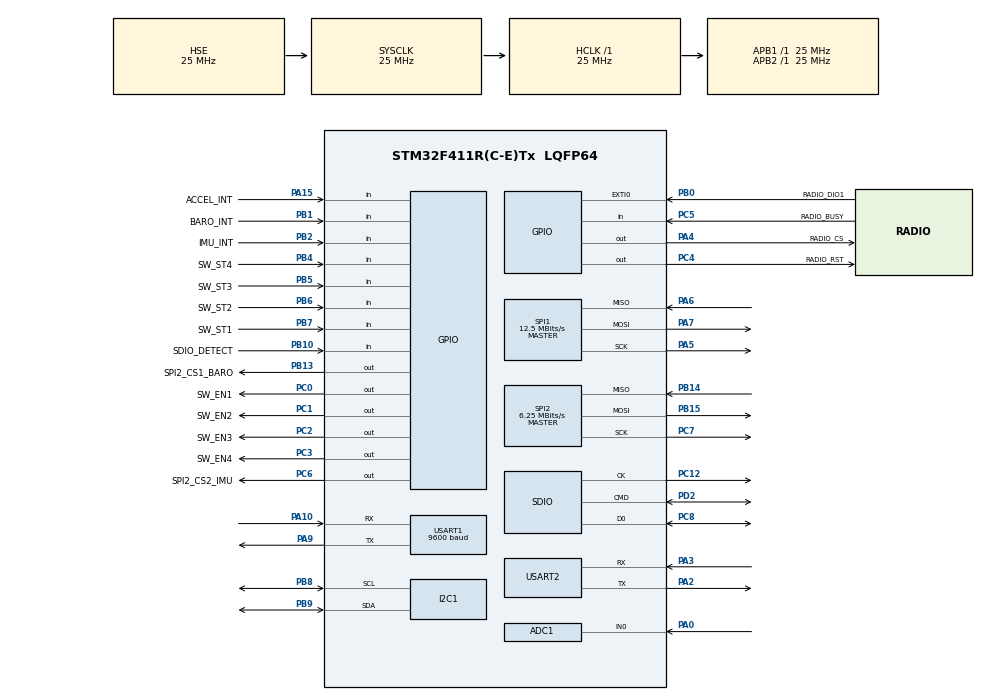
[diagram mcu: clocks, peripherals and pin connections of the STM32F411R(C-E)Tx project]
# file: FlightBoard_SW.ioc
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ADC1.Channel-17\#ChannelRegularConversion=ADC_CHANNEL_0
ADC1.ContinuousConvMode=ENABLE
ADC1.EOCSelection=ADC_EOC_SEQ_CONV
ADC1.NbrOfConversion=1
ADC1.NbrOfConversionFlag=1
ADC1.Rank-17\#ChannelRegularConversion=1
ADC1.Resolution=ADC_RESOLUTION_10B
ADC1.SamplingTime-17\#ChannelRegularConversion=ADC_SAMPLETIME_3CYCLES
ADC1.ScanConvMode=DISABLE
ADC1.master=1
Dma.Request0=SDIO_RX
Dma.Request1=SDIO_TX
Dma.Request2=USART1_RX
Dma.SDIO_RX.0.Direction=DMA_PERIPH_TO_MEMORY
Dma.SDIO_RX.0.FIFOMode=DMA_FIFOMODE_ENABLE
Dma.SDIO_RX.0.FIFOThreshold=DMA_FIFO_THRESHOLD_FULL
Dma.SDIO_RX.0.Instance=DMA2_Stream3
Dma.SDIO_RX.0.MemBurst=DMA_MBURST_INC4
Dma.SDIO_RX.0.MemDataAlignment=DMA_MDATAALIGN_WORD
Dma.SDIO_RX.0.MemInc=DMA_MINC_ENABLE
Dma.SDIO_RX.0.Mode=DMA_PFCTRL
Dma.SDIO_RX.0.PeriphBurst=DMA_PBURST_INC4
Dma.SDIO_RX.0.PeriphDataAlignment=DMA_PDATAALIGN_WORD
Dma.SDIO_RX.0.PeriphInc=DMA_PINC_DISABLE
Dma.SDIO_RX.0.Priority=DMA_PRIORITY_LOW
Dma.SDIO_TX.1.Direction=DMA_MEMORY_TO_PERIPH
Dma.SDIO_TX.1.FIFOMode=DMA_FIFOMODE_ENABLE
Dma.SDIO_TX.1.FIFOThreshold=DMA_FIFO_THRESHOLD_FULL
Dma.SDIO_TX.1.Instance=DMA2_Stream6
Dma.SDIO_TX.1.MemBurst=DMA_MBURST_INC4
Dma.SDIO_TX.1.MemDataAlignment=DMA_MDATAALIGN_WORD
Dma.SDIO_TX.1.MemInc=DMA_MINC_ENABLE
Dma.SDIO_TX.1.Mode=DMA_PFCTRL
Dma.SDIO_TX.1.PeriphBurst=DMA_PBURST_INC4
Dma.SDIO_TX.1.PeriphDataAlignment=DMA_PDATAALIGN_WORD
Dma.SDIO_TX.1.PeriphInc=DMA_PINC_DISABLE
Dma.SDIO_TX.1.Priority=DMA_PRIORITY_LOW
Dma.USART1_RX.2.Direction=DMA_PERIPH_TO_MEMORY
Dma.USART1_RX.2.FIFOMode=DMA_FIFOMODE_DISABLE
Dma.USART1_RX.2.Instance=DMA2_Stream2
Dma.USART1_RX.2.MemDataAlignment=DMA_MDATAALIGN_BYTE
Dma.USART1_RX.2.MemInc=DMA_MINC_ENABLE
Dma.USART1_RX.2.Mode=DMA_CIRCULAR
Dma.USART1_RX.2.PeriphDataAlignment=DMA_PDATAALIGN_BYTE
Dma.USART1_RX.2.PeriphInc=DMA_PINC_DISABLE
Dma.USART1_RX.2.Priority=DMA_PRIORITY_LOW
FATFS.BSP.number=1
FATFS.USE_DMA_CODE_SD=1
FATFS0.BSP.STBoard=false
FATFS0.BSP.api=Unknown
FATFS0.BSP.instance=PB10
FATFS0.BSP.ip=GPIO
FATFS0.BSP.mode=Input
FATFS0.BSP.name=Detect_SDIO
FATFS0.BSP.solution=PB10
I2C1.I2C_Mode=I2C_Fast
I2C1.OwnAddress=0x0
Mcu.Family=STM32F4
Mcu.Name=STM32F411R(C-E)Tx
Mcu.Package=LQFP64
NVIC.DMA2_Stream2_IRQn=true\:0\:0\:false\:false\:true\:false\:true\:true
NVIC.DMA2_Stream3_IRQn=true\:0\:0\:false\:false\:true\:false\:true\:true
NVIC.DMA2_Stream6_IRQn=true\:0\:0\:false\:false\:true\:false\:true\:true
NVIC.EXTI0_IRQn=true\:0\:0\:false\:false\:true\:true\:true\:true
NVIC.PriorityGroup=NVIC_PRIORITYGROUP_4
NVIC.SDIO_IRQn=true\:0\:0\:false\:false\:true\:true\:true\:true
NVIC.TIM2_IRQn=true\:0\:0\:false\:false\:true\:true\:true\:true
NVIC.TIM3_IRQn=true\:0\:0\:false\:false\:true\:true\:true\:true
NVIC.USART1_IRQn=true\:0\:0\:false\:false\:true\:true\:true\:true
PA0-WKUP.Signal=ADCx_IN0
PA10.Mode=Asynchronous
PA10.Signal=USART1_RX
PA13.Mode=Trace_Asynchronous_SW
PA13.Signal=SYS_JTMS-SWDIO
PA14.Mode=Trace_Asynchronous_SW
PA14.Signal=SYS_JTCK-SWCLK
PA15.GPIO_Label=ACCEL_INT
PA15.Signal=GPIO_Input
PA2.Mode=Asynchronous
PA2.Signal=USART2_TX
PA3.Mode=Asynchronous
PA3.Signal=USART2_RX
PA4.GPIO_Label=RADIO_CS
PA4.GPIO_Speed=GPIO_SPEED_FREQ_HIGH
PA4.PinState=GPIO_PIN_SET
PA4.Signal=GPIO_Output
PA5.Mode=Full_Duplex_Master
PA5.Signal=SPI1_SCK
PA6.Mode=Full_Duplex_Master
PA6.Signal=SPI1_MISO
PA7.Mode=Full_Duplex_Master
PA7.Signal=SPI1_MOSI
PA9.Mode=Asynchronous
PA9.Signal=USART1_TX
PB0.GPIO_Label=RADIO_DIO1
PB0.Signal=GPXTI0
PB1.GPIO_Label=BARO_INT
PB1.Signal=GPIO_Input
PB10.GPIO_Label=SDIO_DETECT
PB10.GPIO_PuPd=GPIO_PULLDOWN
PB10.Signal=GPIO_Input
PB13.GPIO_Label=SPI2_CS1_BARO
PB13.GPIO_Speed=GPIO_SPEED_FREQ_HIGH
PB13.PinState=GPIO_PIN_SET
PB13.Signal=GPIO_Output
PB14.Mode=Full_Duplex_Master
PB14.Signal=SPI2_MISO
PB15.Mode=Full_Duplex_Master
PB15.Signal=SPI2_MOSI
PB2.GPIO_Label=IMU_INT
PB2.Signal=GPIO_Input
PB3.Mode=Trace_Asynchronous_SW
PB3.Signal=SYS_JTDO-SWO
PB4.GPIO_Label=SW_ST4
PB4.GPIO_PuPd=GPIO_PULLUP
PB4.Signal=GPIO_Input
PB5.GPIO_Label=SW_ST3
PB5.GPIO_PuPd=GPIO_PULLUP
PB5.Signal=GPIO_Input
PB6.GPIO_Label=SW_ST2
PB6.GPIO_PuPd=GPIO_PULLUP
PB6.Signal=GPIO_Input
PB7.GPIO_Label=SW_ST1
PB7.GPIO_PuPd=GPIO_PULLUP
PB7.Signal=GPIO_Input
PB8.Mode=I2C
PB8.Signal=I2C1_SCL
PB9.Mode=I2C
PB9.Signal=I2C1_SDA
PC0.GPIO_Label=SW_EN1
PC0.GPIO_PuPd=GPIO_PULLDOWN
PC0.Signal=GPIO_Output
PC1.GPIO_Label=SW_EN2
PC1.GPIO_PuPd=GPIO_PULLDOWN
PC1.Signal=GPIO_Output
PC10.Signal=SDIO_D2
PC11.Signal=SDIO_D3
PC12.Mode=SD_1_bit
PC12.Signal=SDIO_CK
PC2.GPIO_Label=SW_EN3
PC2.GPIO_PuPd=GPIO_PULLDOWN
PC2.Signal=GPIO_Output
PC3.GPIO_Label=SW_EN4
PC3.GPIO_PuPd=GPIO_PULLDOWN
PC3.Signal=GPIO_Output
PC4.GPIO_Label=RADIO_RST
PC4.GPIO_Speed=GPIO_SPEED_FREQ_LOW
PC4.PinState=GPIO_PIN_RESET
PC4.Signal=GPIO_Output
PC5.GPIO_Label=RADIO_BUSY
PC5.Signal=GPIO_Input
PC6.GPIO_Label=SPI2_CS2_IMU
PC6.GPIO_Speed=GPIO_SPEED_FREQ_HIGH
PC6.PinState=GPIO_PIN_SET
PC6.Signal=GPIO_Output
PC7.Mode=Full_Duplex_Master
PC7.Signal=SPI2_SCK
PC8.Mode=SD_1_bit
PC8.Signal=SDIO_D0
PC9.Signal=SDIO_D1
PD2.Mode=SD_1_bit
PD2.Signal=SDIO_CMD
PH0\ -\ OSC_IN.Mode=HSE-External-Oscillator
PH0\ -\ OSC_IN.Signal=RCC_OSC_IN
PH1\ -\ OSC_OUT.Mode=HSE-External-Oscillator
PH1\ -\ OSC_OUT.Signal=RCC_OSC_OUT
ProjectManager.HeapSize=0x400
ProjectManager.StackSize=0x800
ProjectManager.TargetToolchain=STM32CubeIDE
RCC.48MHZClocksFreq_Value=48000000
RCC.AHBFreq_Value=25000000
RCC.APB1Freq_Value=25000000
RCC.APB1TimFreq_Value=25000000
RCC.APB2Freq_Value=25000000
RCC.APB2TimFreq_Value=25000000
RCC.CortexFreq_Value=25000000
RCC.HCLKFreq_Value=25000000
RCC.HSE_VALUE=25000000
RCC.HSI_VALUE=16000000
RCC.LSE_VALUE=32768
RCC.PLLM=15
RCC.PLLN=144
RCC.PLLQ=5
RCC.PLLSourceVirtual=RCC_PLLSOURCE_HSE
RCC.SYSCLKFreq_VALUE=25000000
RCC.SYSCLKSource=RCC_SYSCLKSOURCE_HSE
RCC.VCOOutputFreq_Value=240000000
SDIO.ClockBypass=SDIO_CLOCK_BYPASS_ENABLE
SDIO.ClockDiv=0
SDIO.HardwareFlowControl=SDIO_HARDWARE_FLOW_CONTROL_ENABLE
SH.ADCx_IN0.0=ADC1_IN0,IN0
SPI1.CalculateBaudRate=12.5 MBits/s
SPI1.Direction=SPI_DIRECTION_2LINES
SPI1.Mode=SPI_MODE_MASTER
SPI1.VirtualType=VM_MASTER
SPI2.BaudRatePrescaler=SPI_BAUDRATEPRESCALER_4
SPI2.CalculateBaudRate=6.25 MBits/s
SPI2.Direction=SPI_DIRECTION_2LINES
SPI2.Mode=SPI_MODE_MASTER
SPI2.VirtualType=VM_MASTER
TIM2.Period=49999
TIM2.Prescaler=4
TIM3.CounterMode=TIM_COUNTERMODE_DOWN
TIM3.Period=62499
TIM3.Prescaler=399
TIM3.TIM_MasterOutputTrigger=TIM_TRGO_UPDATE
USART1.BaudRate=9600
USART1.VirtualMode=VM_ASYNC
USART2.VirtualMode=VM_ASYNC
VP_FATFS_VS_SDIO.Mode=SDIO
VP_TIM2_VS_ClockSourceINT.Mode=Internal
VP_TIM3_VS_ClockSourceINT.Mode=Internal
board=custom

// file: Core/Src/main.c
/* USER CODE BEGIN Header */
/**
  ******************************************************************************
  * @file           : main.c
  * @brief          : Main program body
  ******************************************************************************
  * @attention
  *
  * Copyright (c) 2024 STMicroelectronics.
  * All rights reserved.
  *
  * This software is licensed under terms that can be found in the LICENSE file
  * in the root directory of this software component.
  * If no LICENSE file comes with this software, it is provided AS-IS.
  *
  ******************************************************************************
  */
/* USER CODE END Header */
#include "main.h"
#include "fatfs.h"

/* USER CODE BEGIN Includes */
#include <stdio.h>
#include <stdint.h>

#include "ADXL375.h"
#include "BMP390.h"
#include "BMI323.h"
#include "PyroSwitch.h"
#include "BatMon.h"
#include "SX1262.h"
#include "GPS.h"
#include "SD.h"

#include "MadgwickAHRS.h"

/* USER CODE END Includes */

ADC_HandleTypeDef hadc1;

I2C_HandleTypeDef hi2c1;

SD_HandleTypeDef hsd;
DMA_HandleTypeDef hdma_sdio_rx;
DMA_HandleTypeDef hdma_sdio_tx;

SPI_HandleTypeDef hspi1;
SPI_HandleTypeDef hspi2;

TIM_HandleTypeDef htim2;
TIM_HandleTypeDef htim3;

UART_HandleTypeDef huart1;
UART_HandleTypeDef huart2;
DMA_HandleTypeDef hdma_usart1_rx;

/* USER CODE BEGIN PV */

ADXL375 ADXL;
BMP390 BMP;
BMI323 BMI;
PyroSwitch SW;
BatMon Bat;
SX1262 Radio;
GPS_t GPS;
SD_t SD;

Madgwick AHRS;

volatile int new_data_required = 0;

uint8_t lora_message[255] = "Hello there";
char sd_string[512];
uint8_t sd_len = 0;

uint8_t telem_counter = 0;
uint32_t sd_log_counter = 0;

/* USER CODE END PV */

void SystemClock_Config(void);
static void MX_GPIO_Init(void);
static void MX_DMA_Init(void);
static void MX_ADC1_Init(void);
static void MX_SDIO_SD_Init(void);
static void MX_SPI1_Init(void);
static void MX_SPI2_Init(void);
static void MX_USART1_UART_Init(void);
static void MX_USART2_UART_Init(void);
static void MX_I2C1_Init(void);
static void MX_TIM2_Init(void);
static void MX_TIM3_Init(void);

/* USER CODE BEGIN 0 */

int _write(int file, char *ptr, int len)
{
  (void)file;
  int DataIdx;

  for (DataIdx = 0; DataIdx < len; DataIdx++)
  {
    ITM_SendChar(*ptr++);
  }
  return len;
}

// Timer elapsed callback custom functions
void HAL_TIM_PeriodElapsedCallback(TIM_HandleTypeDef *htim)
{

  if (htim == &htim2) {
	  //100Hz data timer
	  new_data_required = 1;
  } else {
	  // timer handle comparison done within PyroSwitch_All_Off
	  // So this function needs to be at the very last else
	  PyroSwitch_HandleCallback(&SW, htim);
  }
}

void HAL_GPIO_EXTI_Callback(uint16_t GPIO_Pin)
{
    if(GPIO_Pin == RADIO_DIO1_Pin)
    {
    	SX1262_HandleCallback(&Radio);
    }
}

void HAL_UART_RxCpltCallback(UART_HandleTypeDef *huart)
{
    GPS_DMA_Callback(&GPS);
}

void Packet_Received(uint8_t* data, uint8_t len){
	// handle LoRa packet here
}

/* USER CODE END 0 */

int main(void)
{

  /* MCU Configuration--------------------------------------------------------*/

  /* Reset of all peripherals, Initializes the Flash interface and the Systick. */
  HAL_Init();

  /* Configure the system clock */
  SystemClock_Config();

  /* Initialize all configured peripherals */
  MX_GPIO_Init();
  MX_DMA_Init();
  MX_ADC1_Init();
  MX_SDIO_SD_Init();
  MX_SPI1_Init();
  MX_SPI2_Init();
  MX_USART1_UART_Init();
  MX_USART2_UART_Init();
  MX_I2C1_Init();
  MX_FATFS_Init();
  MX_TIM2_Init();
  MX_TIM3_Init();
  /* USER CODE BEGIN 2 */

  // Initialize SX1262 LoRA radio
  Radio.SPI = hspi1;
  Radio.Reset_Port = RADIO_RST_GPIO_Port;
  Radio.Reset_Pin = RADIO_RST_Pin;
  Radio.NSS_Port = RADIO_CS_GPIO_Port;
  Radio.NSS_Pin = RADIO_CS_Pin;
  Radio.Busy_Port = RADIO_BUSY_GPIO_Port;
  Radio.Busy_Pin = RADIO_BUSY_Pin;
  Radio.RX_Callback = &Packet_Received; // assign callback function
  SX1262_Init(&Radio);

  // Initialize Hi-G Accelerometer
  ADXL.I2C = hi2c1;
  ADXL375_Init(&ADXL);

  // Initialize barometer
  BMP.SPI = hspi2;
  BMP.CS_Port = SPI2_CS1_BARO_GPIO_Port;
  BMP.CS_Pin = SPI2_CS1_BARO_Pin;
  BMP390_Init(&BMP);

  // Initialize IMU
  BMI.SPI = hspi2;
  BMI.CS_Port = SPI2_CS2_IMU_GPIO_Port;
  BMI.CS_Pin = SPI2_CS2_IMU_Pin;
  BMI323_Init(&BMI);

  // Initialize Current Switch
  SW.Timer = htim3;
  SW.SW1_Port = SW_EN1_GPIO_Port;
  SW.SW1_Pin = SW_EN1_Pin;
  SW.SW2_Port = SW_EN2_GPIO_Port;
  SW.SW2_Pin = SW_EN2_Pin;
  SW.SW3_Port = SW_EN3_GPIO_Port;
  SW.SW3_Pin = SW_EN3_Pin;
  SW.SW4_Port = SW_EN4_GPIO_Port;
  SW.SW4_Pin = SW_EN4_Pin;
  SW.ST1_Port = SW_ST1_GPIO_Port;
  SW.ST1_Pin = SW_ST1_Pin;
  SW.ST2_Port = SW_ST2_GPIO_Port;
  SW.ST2_Pin = SW_ST2_Pin;
  SW.ST3_Port = SW_ST3_GPIO_Port;
  SW.ST3_Pin = SW_ST3_Pin;
  SW.ST4_Port = SW_ST4_GPIO_Port;
  SW.ST4_Pin = SW_ST4_Pin;

  // Initialize Battery Monitor
  Bat.ADCHandle = hadc1;
  BatMon_Init(&Bat);

  // Initialize GPS
  GPS.UART = huart1;
  GPS.DMA = hdma_usart1_rx;
  GPS_Init(&GPS);

  // Initialize Madgwick AHRS system
  Madgwick_Init(&AHRS);

  // Initialize SD
  SD.Fat_FS = SDFatFS;
  SD.SD_File = SDFile;
  SD_Init(&SD);
  SD_Open(&SD);
  SD_QueueWrite(&SD, "ACC_X,ACC_Y,ACC_Z,ROLL,PITCH,YAW,BAR_PRES_P, BAR_ALT_M\n", 55);

  // start 100Hz data acquisition timer
  if (HAL_TIM_Base_Start_IT(&htim2) != HAL_OK){
     /* Starting Error */
     Error_Handler();
  }

  /* USER CODE END 2 */

  /* Infinite loop */
  /* USER CODE BEGIN WHILE */
  while (1)
  {

	  // new_data_required is set high by a 100HZ timer in an ISR
	  if(new_data_required){

		  // Data acquisition
		  BMP390_ReadData(&BMP);
		  BMI323_ReadData(&BMI);
		  BatMon_ReadData(&Bat);
		  ADXL375_ReadData(&ADXL);
		  GPS_Parse(&GPS);

		  Madgwick_UpdateIMU(&AHRS, BMI.Gyro_X_Deg_S, BMI.Gyro_Y_Deg_S, BMI.Gyro_Z_Deg_S, BMI.Acc_X_G, BMI.Acc_Y_G, BMI.Acc_Z_G);

		  sd_len = snprintf(sd_string, 255, "%f,%f,%f,%f,%f,%f,%f,%f\n", ADXL.Acc_X_G, ADXL.Acc_Y_G, ADXL.Acc_Z_G, AHRS.Roll_Radians, AHRS.Pitch_Radians, AHRS.Yaw_Radians, BMP.Pressure_Pascal, BMP.Altitude_M); // create log string
		  SD_QueueWrite(&SD, sd_string, sd_len); // put in SD card write queue

		  telem_counter++;
		  if(telem_counter > 10){
			  telem_counter = 0;
			  //SX1262_Transmit(&Radio, lora_message, 128);
		  }

		  sd_log_counter++;
		  if(sd_log_counter == 4500){
			  SD_Close(&SD);
		  }

		  new_data_required = 0;
	  }

	  // code placed here will run as fast as possible

    /* USER CODE END WHILE */

  }
}

void SystemClock_Config(void)
{
  RCC_OscInitTypeDef RCC_OscInitStruct = {0};
  RCC_ClkInitTypeDef RCC_ClkInitStruct = {0};

  /** Configure the main internal regulator output voltage
  */
  __HAL_RCC_PWR_CLK_ENABLE();
  __HAL_PWR_VOLTAGESCALING_CONFIG(PWR_REGULATOR_VOLTAGE_SCALE1);

  /** Initializes the RCC Oscillators according to the specified parameters
  * in the RCC_OscInitTypeDef structure.
  */
  RCC_OscInitStruct.OscillatorType = RCC_OSCILLATORTYPE_HSE;
  RCC_OscInitStruct.HSEState = RCC_HSE_ON;
  RCC_OscInitStruct.PLL.PLLState = RCC_PLL_ON;
  RCC_OscInitStruct.PLL.PLLSource = RCC_PLLSOURCE_HSE;
  RCC_OscInitStruct.PLL.PLLM = 15;
  RCC_OscInitStruct.PLL.PLLN = 144;
  RCC_OscInitStruct.PLL.PLLP = RCC_PLLP_DIV2;
  RCC_OscInitStruct.PLL.PLLQ = 5;
  if (HAL_RCC_OscConfig(&RCC_OscInitStruct) != HAL_OK)
  {
    Error_Handler();
  }

  /** Initializes the CPU, AHB and APB buses clocks
  */
  RCC_ClkInitStruct.ClockType = RCC_CLOCKTYPE_HCLK|RCC_CLOCKTYPE_SYSCLK
                              |RCC_CLOCKTYPE_PCLK1|RCC_CLOCKTYPE_PCLK2;
  RCC_ClkInitStruct.SYSCLKSource = RCC_SYSCLKSOURCE_HSE;
  RCC_ClkInitStruct.AHBCLKDivider = RCC_SYSCLK_DIV1;
  RCC_ClkInitStruct.APB1CLKDivider = RCC_HCLK_DIV1;
  RCC_ClkInitStruct.APB2CLKDivider = RCC_HCLK_DIV1;

  if (HAL_RCC_ClockConfig(&RCC_ClkInitStruct, FLASH_LATENCY_0) != HAL_OK)
  {
    Error_Handler();
  }
}

static void MX_ADC1_Init(void)
{

  ADC_ChannelConfTypeDef sConfig = {0};

  /** Configure the global features of the ADC (Clock, Resolution, Data Alignment and number of conversion)
  */
  hadc1.Instance = ADC1;
  hadc1.Init.ClockPrescaler = ADC_CLOCK_SYNC_PCLK_DIV2;
  hadc1.Init.Resolution = ADC_RESOLUTION_10B;
  hadc1.Init.ScanConvMode = DISABLE;
  hadc1.Init.ContinuousConvMode = ENABLE;
  hadc1.Init.DiscontinuousConvMode = DISABLE;
  hadc1.Init.ExternalTrigConvEdge = ADC_EXTERNALTRIGCONVEDGE_NONE;
  hadc1.Init.ExternalTrigConv = ADC_SOFTWARE_START;
  hadc1.Init.DataAlign = ADC_DATAALIGN_RIGHT;
  hadc1.Init.NbrOfConversion = 1;
  hadc1.Init.DMAContinuousRequests = DISABLE;
  hadc1.Init.EOCSelection = ADC_EOC_SEQ_CONV;
  if (HAL_ADC_Init(&hadc1) != HAL_OK)
  {
    Error_Handler();
  }

  /** Configure for the selected ADC regular channel its corresponding rank in the sequencer and its sample time.
  */
  sConfig.Channel = ADC_CHANNEL_0;
  sConfig.Rank = 1;
  sConfig.SamplingTime = ADC_SAMPLETIME_3CYCLES;
  if (HAL_ADC_ConfigChannel(&hadc1, &sConfig) != HAL_OK)
  {
    Error_Handler();
  }

}

static void MX_I2C1_Init(void)
{

  hi2c1.Instance = I2C1;
  hi2c1.Init.ClockSpeed = 400000;
  hi2c1.Init.DutyCycle = I2C_DUTYCYCLE_2;
  hi2c1.Init.OwnAddress1 = 0;
  hi2c1.Init.AddressingMode = I2C_ADDRESSINGMODE_7BIT;
  hi2c1.Init.DualAddressMode = I2C_DUALADDRESS_DISABLE;
  hi2c1.Init.OwnAddress2 = 0;
  hi2c1.Init.GeneralCallMode = I2C_GENERALCALL_DISABLE;
  hi2c1.Init.NoStretchMode = I2C_NOSTRETCH_DISABLE;
  if (HAL_I2C_Init(&hi2c1) != HAL_OK)
  {
    Error_Handler();
  }

}

static void MX_SDIO_SD_Init(void)
{

  hsd.Instance = SDIO;
  hsd.Init.ClockEdge = SDIO_CLOCK_EDGE_RISING;
  hsd.Init.ClockBypass = SDIO_CLOCK_BYPASS_ENABLE;
  hsd.Init.ClockPowerSave = SDIO_CLOCK_POWER_SAVE_DISABLE;
  hsd.Init.BusWide = SDIO_BUS_WIDE_1B;
  hsd.Init.HardwareFlowControl = SDIO_HARDWARE_FLOW_CONTROL_ENABLE;
  hsd.Init.ClockDiv = 0;
  /* USER CODE BEGIN SDIO_Init 2 */

  // workaround for 1 bit SDIO bug
//  if (HAL_SD_Init(&hsd) != HAL_OK)
//  {
//    Error_Handler();
//  }
//
//  if(HAL_SD_ConfigWideBusOperation(&hsd, SDIO_BUS_WIDE_4B) != HAL_OK){
//	  Error_Handler();
//  }

  /* USER CODE END SDIO_Init 2 */

}

static void MX_SPI1_Init(void)
{

  /* SPI1 parameter configuration*/
  hspi1.Instance = SPI1;
  hspi1.Init.Mode = SPI_MODE_MASTER;
  hspi1.Init.Direction = SPI_DIRECTION_2LINES;
  hspi1.Init.DataSize = SPI_DATASIZE_8BIT;
  hspi1.Init.CLKPolarity = SPI_POLARITY_LOW;
  hspi1.Init.CLKPhase = SPI_PHASE_1EDGE;
  hspi1.Init.NSS = SPI_NSS_SOFT;
  hspi1.Init.BaudRatePrescaler = SPI_BAUDRATEPRESCALER_2;
  hspi1.Init.FirstBit = SPI_FIRSTBIT_MSB;
  hspi1.Init.TIMode = SPI_TIMODE_DISABLE;
  hspi1.Init.CRCCalculation = SPI_CRCCALCULATION_DISABLE;
  hspi1.Init.CRCPolynomial = 10;
  if (HAL_SPI_Init(&hspi1) != HAL_OK)
  {
    Error_Handler();
  }

}

static void MX_SPI2_Init(void)
{

  /* SPI2 parameter configuration*/
  hspi2.Instance = SPI2;
  hspi2.Init.Mode = SPI_MODE_MASTER;
  hspi2.Init.Direction = SPI_DIRECTION_2LINES;
  hspi2.Init.DataSize = SPI_DATASIZE_8BIT;
  hspi2.Init.CLKPolarity = SPI_POLARITY_LOW;
  hspi2.Init.CLKPhase = SPI_PHASE_1EDGE;
  hspi2.Init.NSS = SPI_NSS_SOFT;
  hspi2.Init.BaudRatePrescaler = SPI_BAUDRATEPRESCALER_4;
  hspi2.Init.FirstBit = SPI_FIRSTBIT_MSB;
  hspi2.Init.TIMode = SPI_TIMODE_DISABLE;
  hspi2.Init.CRCCalculation = SPI_CRCCALCULATION_DISABLE;
  hspi2.Init.CRCPolynomial = 10;
  if (HAL_SPI_Init(&hspi2) != HAL_OK)
  {
    Error_Handler();
  }

}

static void MX_TIM2_Init(void)
{

  TIM_ClockConfigTypeDef sClockSourceConfig = {0};
  TIM_MasterConfigTypeDef sMasterConfig = {0};

  htim2.Instance = TIM2;
  htim2.Init.Prescaler = 4;
  htim2.Init.CounterMode = TIM_COUNTERMODE_UP;
  htim2.Init.Period = 49999;
  htim2.Init.ClockDivision = TIM_CLOCKDIVISION_DIV1;
  htim2.Init.AutoReloadPreload = TIM_AUTORELOAD_PRELOAD_DISABLE;
  if (HAL_TIM_Base_Init(&htim2) != HAL_OK)
  {
    Error_Handler();
  }
  sClockSourceConfig.ClockSource = TIM_CLOCKSOURCE_INTERNAL;
  if (HAL_TIM_ConfigClockSource(&htim2, &sClockSourceConfig) != HAL_OK)
  {
    Error_Handler();
  }
  sMasterConfig.MasterOutputTrigger = TIM_TRGO_RESET;
  sMasterConfig.MasterSlaveMode = TIM_MASTERSLAVEMODE_DISABLE;
  if (HAL_TIMEx_MasterConfigSynchronization(&htim2, &sMasterConfig) != HAL_OK)
  {
    Error_Handler();
  }

}

static void MX_TIM3_Init(void)
{

  TIM_ClockConfigTypeDef sClockSourceConfig = {0};
  TIM_MasterConfigTypeDef sMasterConfig = {0};

  htim3.Instance = TIM3;
  htim3.Init.Prescaler = 399;
  htim3.Init.CounterMode = TIM_COUNTERMODE_DOWN;
  htim3.Init.Period = 62499;
  htim3.Init.ClockDivision = TIM_CLOCKDIVISION_DIV1;
  htim3.Init.AutoReloadPreload = TIM_AUTORELOAD_PRELOAD_DISABLE;
  if (HAL_TIM_Base_Init(&htim3) != HAL_OK)
  {
    Error_Handler();
  }
  sClockSourceConfig.ClockSource = TIM_CLOCKSOURCE_INTERNAL;
  if (HAL_TIM_ConfigClockSource(&htim3, &sClockSourceConfig) != HAL_OK)
  {
    Error_Handler();
  }
  sMasterConfig.MasterOutputTrigger = TIM_TRGO_UPDATE;
  sMasterConfig.MasterSlaveMode = TIM_MASTERSLAVEMODE_DISABLE;
  if (HAL_TIMEx_MasterConfigSynchronization(&htim3, &sMasterConfig) != HAL_OK)
  {
    Error_Handler();
  }

}

static void MX_USART1_UART_Init(void)
{

  huart1.Instance = USART1;
  huart1.Init.BaudRate = 9600;
  huart1.Init.WordLength = UART_WORDLENGTH_8B;
  huart1.Init.StopBits = UART_STOPBITS_1;
  huart1.Init.Parity = UART_PARITY_NONE;
  huart1.Init.Mode = UART_MODE_TX_RX;
  huart1.Init.HwFlowCtl = UART_HWCONTROL_NONE;
  huart1.Init.OverSampling = UART_OVERSAMPLING_16;
  if (HAL_UART_Init(&huart1) != HAL_OK)
  {
    Error_Handler();
  }

}

static void MX_USART2_UART_Init(void)
{

  huart2.Instance = USART2;
  huart2.Init.BaudRate = 115200;
  huart2.Init.WordLength = UART_WORDLENGTH_8B;
  huart2.Init.StopBits = UART_STOPBITS_1;
  huart2.Init.Parity = UART_PARITY_NONE;
  huart2.Init.Mode = UART_MODE_TX_RX;
  huart2.Init.HwFlowCtl = UART_HWCONTROL_NONE;
  huart2.Init.OverSampling = UART_OVERSAMPLING_16;
  if (HAL_UART_Init(&huart2) != HAL_OK)
  {
    Error_Handler();
  }

}

static void MX_DMA_Init(void)
{

  /* DMA controller clock enable */
  __HAL_RCC_DMA2_CLK_ENABLE();

  /* DMA interrupt init */
  /* DMA2_Stream2_IRQn interrupt configuration */
  HAL_NVIC_SetPriority(DMA2_Stream2_IRQn, 0, 0);
  HAL_NVIC_EnableIRQ(DMA2_Stream2_IRQn);
  /* DMA2_Stream3_IRQn interrupt configuration */
  HAL_NVIC_SetPriority(DMA2_Stream3_IRQn, 0, 0);
  HAL_NVIC_EnableIRQ(DMA2_Stream3_IRQn);
  /* DMA2_Stream6_IRQn interrupt configuration */
  HAL_NVIC_SetPriority(DMA2_Stream6_IRQn, 0, 0);
  HAL_NVIC_EnableIRQ(DMA2_Stream6_IRQn);

}

static void MX_GPIO_Init(void)
{
  GPIO_InitTypeDef GPIO_InitStruct = {0};

  /* GPIO Ports Clock Enable */
  __HAL_RCC_GPIOH_CLK_ENABLE();
  __HAL_RCC_GPIOC_CLK_ENABLE();
  __HAL_RCC_GPIOA_CLK_ENABLE();
  __HAL_RCC_GPIOB_CLK_ENABLE();
  __HAL_RCC_GPIOD_CLK_ENABLE();

  /*Configure GPIO pin Output Level */
  HAL_GPIO_WritePin(GPIOC, SW_EN1_Pin|SW_EN2_Pin|SW_EN3_Pin|SW_EN4_Pin
                          |RADIO_RST_Pin, GPIO_PIN_RESET);

  /*Configure GPIO pin Output Level */
  HAL_GPIO_WritePin(RADIO_CS_GPIO_Port, RADIO_CS_Pin, GPIO_PIN_SET);

  /*Configure GPIO pin Output Level */
  HAL_GPIO_WritePin(SPI2_CS1_BARO_GPIO_Port, SPI2_CS1_BARO_Pin, GPIO_PIN_SET);

  /*Configure GPIO pin Output Level */
  HAL_GPIO_WritePin(SPI2_CS2_IMU_GPIO_Port, SPI2_CS2_IMU_Pin, GPIO_PIN_SET);

  /*Configure GPIO pins : SW_EN1_Pin SW_EN2_Pin SW_EN3_Pin SW_EN4_Pin */
  GPIO_InitStruct.Pin = SW_EN1_Pin|SW_EN2_Pin|SW_EN3_Pin|SW_EN4_Pin;
  GPIO_InitStruct.Mode = GPIO_MODE_OUTPUT_PP;
  GPIO_InitStruct.Pull = GPIO_PULLDOWN;
  GPIO_InitStruct.Speed = GPIO_SPEED_FREQ_LOW;
  HAL_GPIO_Init(GPIOC, &GPIO_InitStruct);

  /*Configure GPIO pin : RADIO_CS_Pin */
  GPIO_InitStruct.Pin = RADIO_CS_Pin;
  GPIO_InitStruct.Mode = GPIO_MODE_OUTPUT_PP;
  GPIO_InitStruct.Pull = GPIO_NOPULL;
  GPIO_InitStruct.Speed = GPIO_SPEED_FREQ_HIGH;
  HAL_GPIO_Init(RADIO_CS_GPIO_Port, &GPIO_InitStruct);

  /*Configure GPIO pin : RADIO_RST_Pin */
  GPIO_InitStruct.Pin = RADIO_RST_Pin;
  GPIO_InitStruct.Mode = GPIO_MODE_OUTPUT_PP;
  GPIO_InitStruct.Pull = GPIO_NOPULL;
  GPIO_InitStruct.Speed = GPIO_SPEED_FREQ_LOW;
  HAL_GPIO_Init(RADIO_RST_GPIO_Port, &GPIO_InitStruct);

  /*Configure GPIO pin : RADIO_BUSY_Pin */
  GPIO_InitStruct.Pin = RADIO_BUSY_Pin;
  GPIO_InitStruct.Mode = GPIO_MODE_INPUT;
  GPIO_InitStruct.Pull = GPIO_NOPULL;
  HAL_GPIO_Init(RADIO_BUSY_GPIO_Port, &GPIO_InitStruct);

  /*Configure GPIO pin : RADIO_DIO1_Pin */
  GPIO_InitStruct.Pin = RADIO_DIO1_Pin;
  GPIO_InitStruct.Mode = GPIO_MODE_IT_RISING;
  GPIO_InitStruct.Pull = GPIO_NOPULL;
  HAL_GPIO_Init(RADIO_DIO1_GPIO_Port, &GPIO_InitStruct);

  /*Configure GPIO pins : BARO_INT_Pin IMU_INT_Pin */
  GPIO_InitStruct.Pin = BARO_INT_Pin|IMU_INT_Pin;
  GPIO_InitStruct.Mode = GPIO_MODE_INPUT;
  GPIO_InitStruct.Pull = GPIO_NOPULL;
  HAL_GPIO_Init(GPIOB, &GPIO_InitStruct);

  /*Configure GPIO pin : SDIO_DETECT_Pin */
  GPIO_InitStruct.Pin = SDIO_DETECT_Pin;
  GPIO_InitStruct.Mode = GPIO_MODE_INPUT;
  GPIO_InitStruct.Pull = GPIO_PULLDOWN;
  HAL_GPIO_Init(SDIO_DETECT_GPIO_Port, &GPIO_InitStruct);

  /*Configure GPIO pin : SPI2_CS1_BARO_Pin */
  GPIO_InitStruct.Pin = SPI2_CS1_BARO_Pin;
  GPIO_InitStruct.Mode = GPIO_MODE_OUTPUT_PP;
  GPIO_InitStruct.Pull = GPIO_NOPULL;
  GPIO_InitStruct.Speed = GPIO_SPEED_FREQ_HIGH;
  HAL_GPIO_Init(SPI2_CS1_BARO_GPIO_Port, &GPIO_InitStruct);

  /*Configure GPIO pin : SPI2_CS2_IMU_Pin */
  GPIO_InitStruct.Pin = SPI2_CS2_IMU_Pin;
  GPIO_InitStruct.Mode = GPIO_MODE_OUTPUT_PP;
  GPIO_InitStruct.Pull = GPIO_NOPULL;
  GPIO_InitStruct.Speed = GPIO_SPEED_FREQ_HIGH;
  HAL_GPIO_Init(SPI2_CS2_IMU_GPIO_Port, &GPIO_InitStruct);

  /*Configure GPIO pin : ACCEL_INT_Pin */
  GPIO_InitStruct.Pin = ACCEL_INT_Pin;
  GPIO_InitStruct.Mode = GPIO_MODE_INPUT;
  GPIO_InitStruct.Pull = GPIO_NOPULL;
  HAL_GPIO_Init(ACCEL_INT_GPIO_Port, &GPIO_InitStruct);

  /*Configure GPIO pins : SW_ST4_Pin SW_ST3_Pin SW_ST2_Pin SW_ST1_Pin */
  GPIO_InitStruct.Pin = SW_ST4_Pin|SW_ST3_Pin|SW_ST2_Pin|SW_ST1_Pin;
  GPIO_InitStruct.Mode = GPIO_MODE_INPUT;
  GPIO_InitStruct.Pull = GPIO_PULLUP;
  HAL_GPIO_Init(GPIOB, &GPIO_InitStruct);

  /* EXTI interrupt init*/
  HAL_NVIC_SetPriority(EXTI0_IRQn, 0, 0);
  HAL_NVIC_EnableIRQ(EXTI0_IRQn);

}

void Error_Handler(void)
{
  __disable_irq();
  while (1)
  {
  }
}
